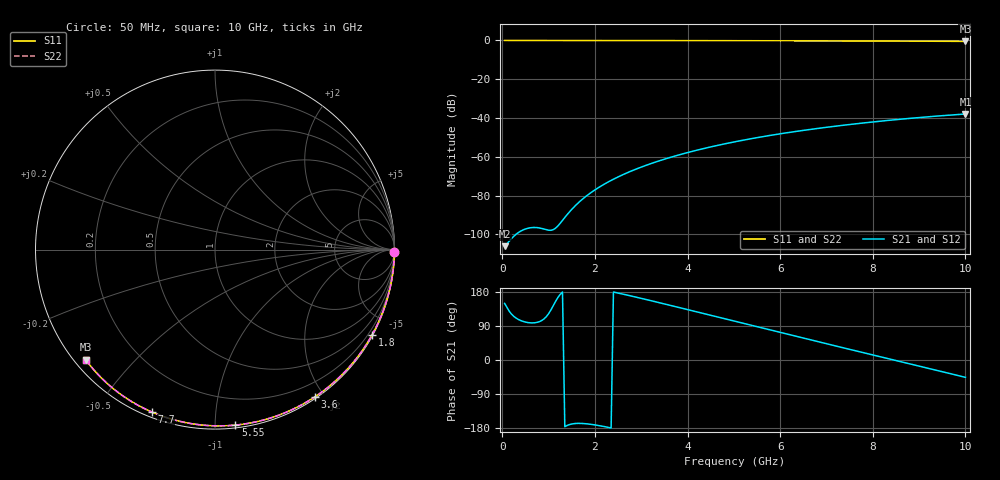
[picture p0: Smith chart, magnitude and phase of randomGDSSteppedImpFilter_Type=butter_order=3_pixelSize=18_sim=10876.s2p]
! freq	dB(S11)	phase(S11)	dB(S12)	phase(S12)
!  dB(S21)	phase(S21)	dB(S22)	phase(S22)
!S-par simulation data
#  GHz  S  DB  R 50
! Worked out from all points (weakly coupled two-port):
!   200 points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, 50 MHz to 10 GHz, reference 50 ohm
!   highest |S21| = -37.94 dB at 10 GHz (marker M1); lowest = -106.0 dB at 50 MHz (marker M2)
!   lowest |S11| = -0.5 dB at 10 GHz (marker M3), VSWR 36.42, Z = 1.56 - j18.4 ohm
!   |S11| at or under -10 dB: nowhere
!   |S22| runs from -0.5 to 0.0 dB; largest |S21 - S12| = 0
!   S11 on the Smith chart (normalised r, x): 50 MHz: open; 1.8 GHz: 0.03, -3.92; 3.6 GHz: 0.02, -1.88; 5.55 GHz: 0.02, -1.12; 7.7 GHz: 0.02, -0.68; 10 GHz: 0.03, -0.37
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0.05  -0.00 -0.8  -106.04 149.4  -106.04 149.4  -0.00 -0.8
0.45  -0.01 -7.3  -97.66 101.8  -97.66 101.8  -0.01 -7.3
0.9  -0.02 -14.5  -97.23 108.3  -97.23 108.3  -0.02 -14.5
1.75  -0.04 -27.9  -81.43 -167.7  -81.43 -167.7  -0.04 -27.9
1.8  -0.04 -28.6  -80.47 -168.1  -80.47 -168.1  -0.04 -28.6
1.85  -0.04 -29.4  -79.56 -168.8  -79.56 -168.8  -0.04 -29.4
2.05  -0.04 -32.5  -76.26 -172.3  -76.26 -172.3  -0.04 -32.5
2.25  -0.05 -35.6  -73.42 -176.8  -73.42 -176.8  -0.05 -35.6
2.55  -0.05 -40.2  -69.78 175.4  -69.78 175.4  -0.05 -40.2
2.95  -0.06 -46.3  -65.74 164.2  -65.74 164.2  -0.06 -46.3
3.4  -0.07 -53.0  -61.96 151.0  -61.96 151.0  -0.07 -53.0
3.6  -0.08 -55.9  -60.47 145.0  -60.47 145.0  -0.08 -55.9
3.9  -0.08 -60.3  -58.43 136.0  -58.43 136.0  -0.08 -60.3
4.3  -0.09 -66.0  -55.99 124.0  -55.99 124.0  -0.09 -66.0
5.05  -0.12 -76.6  -52.10 101.3  -52.10 101.3  -0.12 -76.6
5.55  -0.14 -83.4  -49.89 86.1  -49.89 86.1  -0.14 -83.4
6.1  -0.16 -90.7  -47.75 69.6  -47.75 69.6  -0.16 -90.7
6.7  -0.19 -98.6  -45.70 51.7  -45.70 51.7  -0.19 -98.6
7.7  -0.26 -111.3  -42.79 22.3  -42.79 22.3  -0.26 -111.3
8.35  -0.31 -119.4  -41.17 3.2  -41.17 3.2  -0.31 -119.4
9.2  -0.39 -129.8  -39.34 -21.8  -39.34 -21.8  -0.39 -129.8
10  -0.48 -139.6  -37.94 -45.8  -37.94 -45.8  -0.48 -139.6
